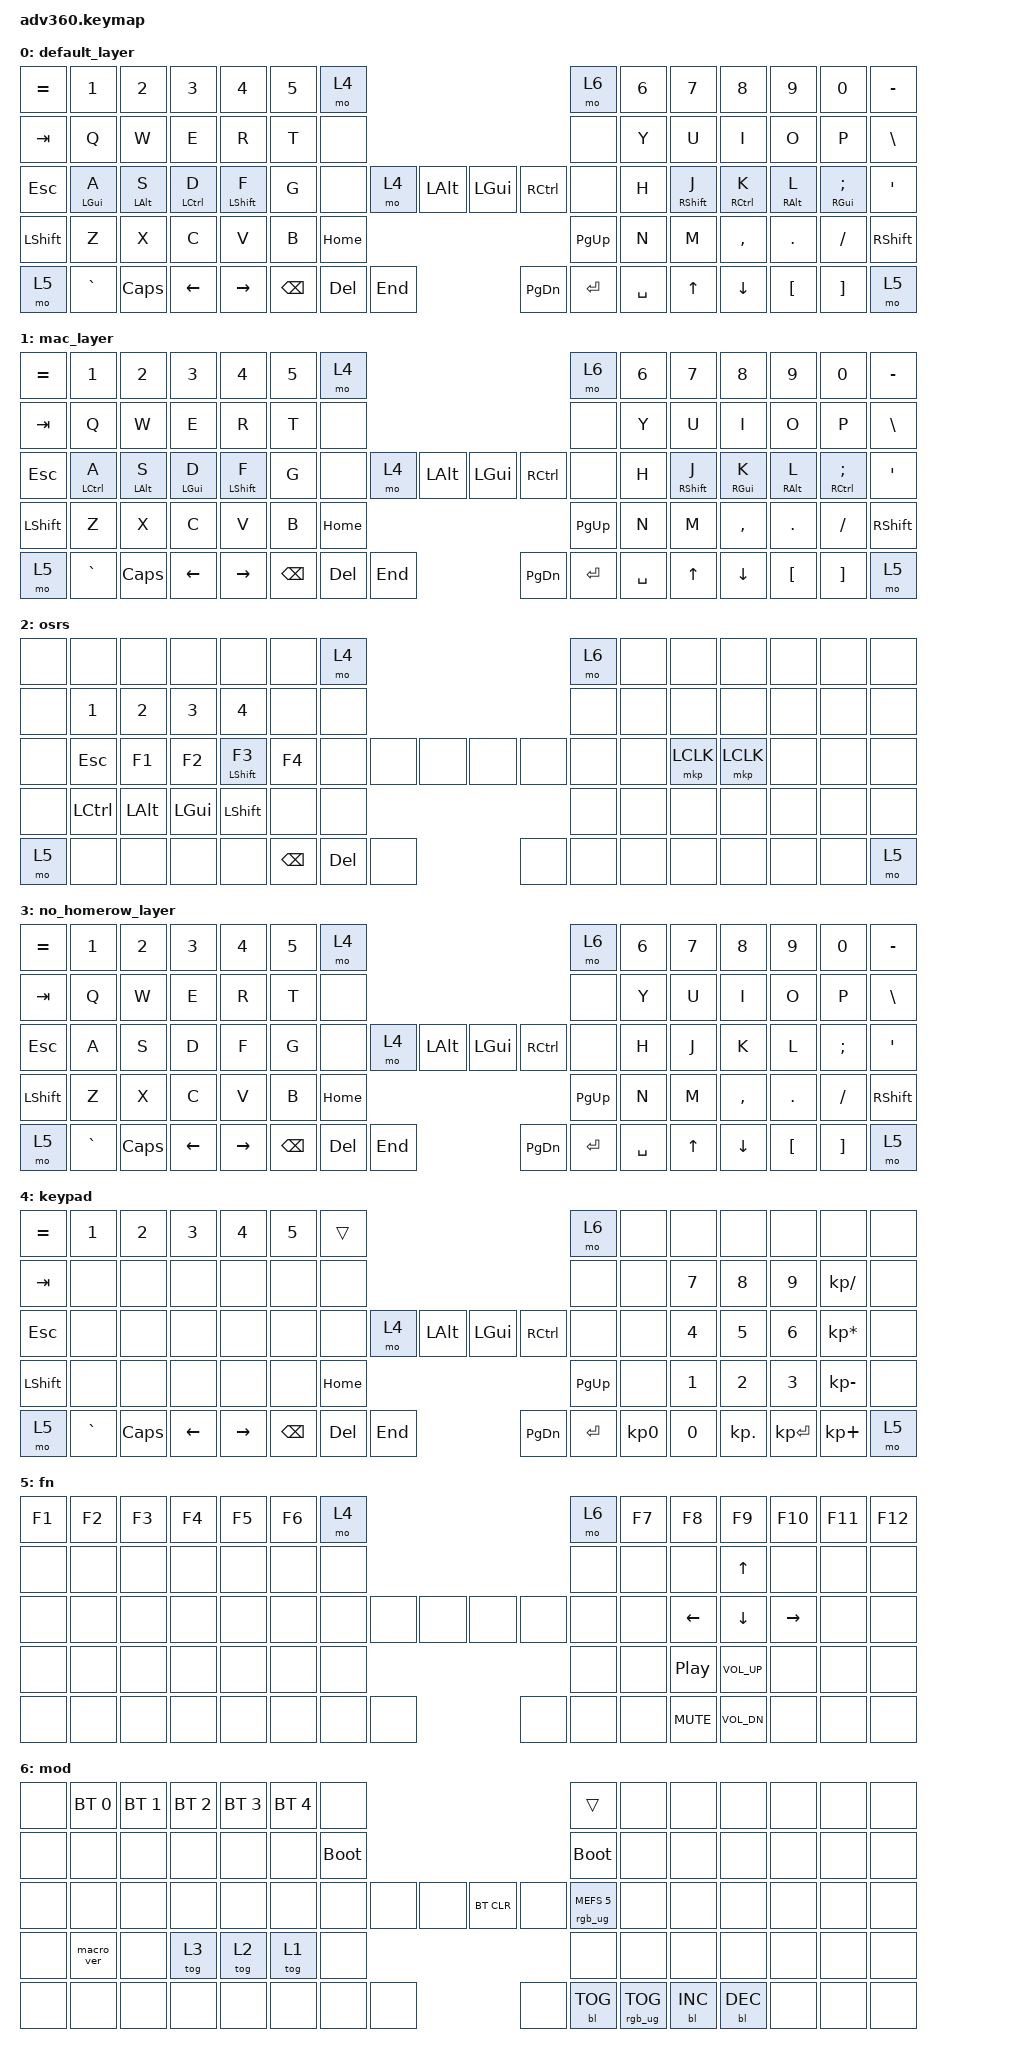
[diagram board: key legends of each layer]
#include <behaviors.dtsi>
#include <dt-bindings/zmk/keys.h>
#include <dt-bindings/zmk/bt.h>
#include <dt-bindings/zmk/rgb.h>
#include <dt-bindings/zmk/backlight.h>
#include <dt-bindings/zmk/mouse.h>

/ {
    combos {
      compatible = "zmk,combos";
      combo_esc {
            timeout-ms = <50>;
            key-positions = <15 16>;
            bindings = <&kp ESC>;
            layers = <0 1>;
        };
        combo_tab {
            timeout-ms = <50>;
            key-positions = <29 30>;
            bindings = <&kp TAB>;
            layers = <0 1>;
        };
        combo_enter {
            timeout-ms = <50>;
            key-positions = <31 32>;
            bindings = <&kp ENTER>;
            layers = <0 1>;
        };
    };

    behaviors {
      #include "macros.dtsi"
      #include "version.dtsi"
      #ifndef VERSION_MACRO
      macro_ver: macro_ver {
        compatible = "zmk,behavior-macro";
        label = "macro_version";
        #binding-cells = <0>;
        bindings = <&kp RET>;
      };
      #endif

      hm: homerow_mods {
          compatible = "zmk,behavior-hold-tap";
          label = "HOMEROW_MODS";
          #binding-cells = <2>;
          tapping-term-ms = <200>;
          quick_tap_ms = <175>;
          flavor = "tap-preferred";
          bindings = <&kp>, <&kp>;
      };
    };

  keymap {
    compatible = "zmk,keymap";

    default_layer {
      bindings = <
        &kp EQUAL &kp N1    &kp N2   &kp N3   &kp N4     &kp N5 &mo 4                                                           &mo 6 &kp N6 &kp N7 &kp N8    &kp N9   &kp N0   &kp MINUS
        &kp TAB   &kp Q     &kp W    &kp E    &kp R      &kp T  &none                                                            &none &kp Y  &kp U  &kp I     &kp O    &kp P    &kp BSLH
        &kp ESC   &hm LEFT_GUI A     &hm LEFT_ALT S    &hm LEFT_CONTROL D    &hm LEFT_SHIFT F      &kp G  &none           &mo 4 &kp LALT &kp LGUI  &kp RCTRL           &none &kp H  &hm RIGHT_SHIFT J  &hm RIGHT_CONTROL K     &hm RIGHT_ALT L    &hm RIGHT_GUI SEMI &kp SQT
        &kp LSHFT &kp Z     &kp X    &kp C    &kp V      &kp B                            &kp HOME &kp PG_UP                           &kp N  &kp M  &kp COMMA &kp DOT  &kp FSLH &kp RSHFT
        &mo 5     &kp GRAVE &kp CAPS &kp LEFT &kp RIGHT                &kp BSPC &kp DEL   &kp END  &kp PG_DN &kp ENTER &kp SPACE              &kp UP &kp DOWN  &kp LBKT &kp RBKT &mo 5
      >;
    };

    mac_layer {
      bindings = <
        &kp EQUAL &kp N1    &kp N2   &kp N3   &kp N4     &kp N5 &mo 4                                                           &mo 6 &kp N6 &kp N7 &kp N8    &kp N9   &kp N0   &kp MINUS
        &kp TAB   &kp Q     &kp W    &kp E    &kp R      &kp T  &none                                                            &none &kp Y  &kp U  &kp I     &kp O    &kp P    &kp BSLH
        &kp ESC   &hm LEFT_CONTROL A     &hm LEFT_ALT S    &hm LEFT_GUI D    &hm LEFT_SHIFT F      &kp G  &none           &mo 4 &kp LALT &kp LGUI  &kp RCTRL           &none &kp H  &hm RIGHT_SHIFT J  &hm RIGHT_GUI K     &hm RIGHT_ALT L    &hm RIGHT_CONTROL SEMI &kp SQT
        &kp LSHFT &kp Z     &kp X    &kp C    &kp V      &kp B                            &kp HOME &kp PG_UP                           &kp N  &kp M  &kp COMMA &kp DOT  &kp FSLH &kp RSHFT
        &mo 5     &kp GRAVE &kp CAPS &kp LEFT &kp RIGHT                &kp BSPC &kp DEL   &kp END  &kp PG_DN &kp ENTER &kp SPACE              &kp UP &kp DOWN  &kp LBKT &kp RBKT &mo 5
      >;
    };

    osrs {
      bindings = <
        &none &none &none &none &none &none &mo 4                                           &mo 6 &none &none &none &none &none &none
        &none &kp N1    &kp N2   &kp N3   &kp N4  &none    &none      &none &none &none &none &none  &none  &none
        &none &kp ESC &kp F1 &kp F2 &hm LEFT_SHIFT F3 &kp F4  &none   &none &none &none &none                                         &none &none &mkp LCLK &mkp LCLK &none  &none  &none
        &none &kp LEFT_CONTROL &kp LEFT_ALT &kp LEFT_GUI &kp LEFT_SHIFT &none                      &none &none                     &none &none &none &none  &none  &none
        &mo 5  &none &none &none &none              &kp BSPC &kp DEL &none &none &none &none              &none &none &none  &none  &mo 5 
      >;
    };

    no_homerow_layer {
      bindings = <
        &kp EQUAL &kp N1    &kp N2   &kp N3   &kp N4     &kp N5 &mo 4                                                           &mo 6 &kp N6 &kp N7 &kp N8    &kp N9   &kp N0   &kp MINUS
        &kp TAB   &kp Q     &kp W    &kp E    &kp R      &kp T  &none                                                            &none &kp Y  &kp U  &kp I     &kp O    &kp P    &kp BSLH
        &kp ESC   &kp A     &kp S    &kp D    &kp F      &kp G  &none           &mo 4 &kp LALT &kp LGUI  &kp RCTRL           &none &kp H  &kp J  &kp K     &kp L    &kp SEMI &kp SQT
        &kp LSHFT &kp Z     &kp X    &kp C    &kp V      &kp B                            &kp HOME &kp PG_UP                           &kp N  &kp M  &kp COMMA &kp DOT  &kp FSLH &kp RSHFT
        &mo 5     &kp GRAVE &kp CAPS &kp LEFT &kp RIGHT                &kp BSPC &kp DEL   &kp END  &kp PG_DN &kp ENTER &kp SPACE              &kp UP &kp DOWN  &kp LBKT &kp RBKT &mo 5
      >;
    };


    keypad {
      bindings = <
        &kp EQUAL &kp N1    &kp N2   &kp N3   &kp N4     &kp N5 &trans                                                           &mo 6 &none &none &none &none &none &none
        &kp TAB   &none    &none   &none   &none     &none &none                                                            &none &none  &kp N7  &kp N8    &kp N9     &kp KP_DIVIDE    &none
        &kp ESC   &none    &none   &none   &none     &none &none           &mo 4 &kp LALT &kp LGUI  &kp RCTRL           &none &none &kp N4  &kp N5    &kp N6     &kp KP_MULTIPLY    &none
        &kp LSHFT &none    &none   &none   &none     &none                           &kp HOME &kp PG_UP                           &none  &kp N1  &kp N2    &kp N3     &kp KP_MINUS   &none
        &mo 5     &kp GRAVE &kp CAPS &kp LEFT &kp RIGHT                &kp BSPC &kp DEL   &kp END  &kp PG_DN &kp ENTER &kp KP_N0              &kp N0     &kp KP_DOT     &kp KP_ENTER  &kp KP_PLUS        &mo 5
      >;
    };
    fn {
      bindings = <
        &kp F1 &kp F2 &kp F3 &kp F4 &kp F5 &kp F6 &mo 4                                           &mo 6 &kp F7 &kp F8 &kp F9 &kp F10 &kp F11 &kp F12
        &none &none &none &none &none &none  &none                                           &none &none &none &kp UP &none  &none  &none
        &none &none &none &none &none &none  &none        &none &none &none &none        &none &none &kp LEFT &kp DOWN &kp RIGHT  &none  &none
        &none &none &none &none &none &none                      &none &none                     &none &kp C_PP &kp K_VOL_UP &none  &none  &none
        &none &none &none &none &none               &none &none &none &none &none &none              &kp K_MUTE &kp K_VOL_DN &none  &none  &none
      >;
    };
    mod {
      bindings = <
        &none &bt BT_SEL 0 &bt BT_SEL 1 &bt BT_SEL 2 &bt BT_SEL 3 &bt BT_SEL 4 &none                                                                     &trans                 &none        &none        &none        &none &none &none
        &none &none        &none        &none        &none        &none        &bootloader                                                               &bootloader            &none        &none        &none        &none &none &none
        &none &none        &none        &none        &none        &none        &none                   &none &none &bt BT_CLR &none                      &rgb_ug RGB_MEFS_CMD 5 &none        &none        &none        &none &none &none
        &none &macro_ver         &none        &tog 3        &tog 2  &tog 1                                      &none &none                                                        &none        &none        &none        &none &none &none
        &none &none        &none        &none        &none                                       &none &none &none &none      &bl BL_TOG &rgb_ug RGB_TOG                                     &bl BL_INC   &bl BL_DEC   &none &none &none
      >;
    };
  };
};
